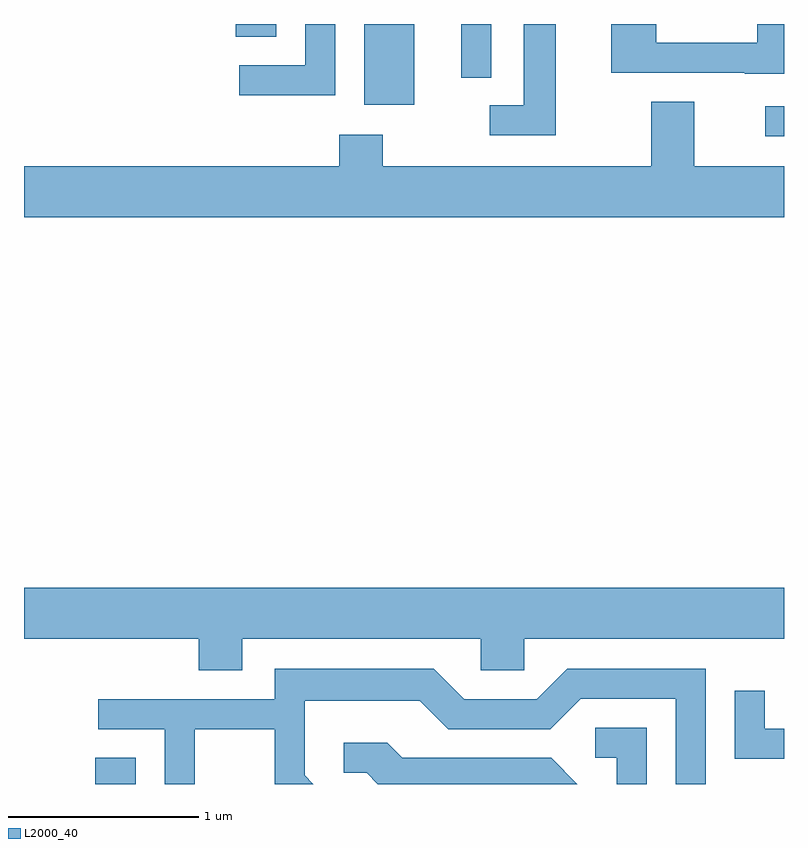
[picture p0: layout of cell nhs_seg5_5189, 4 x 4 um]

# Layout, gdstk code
import gdstk
lib = gdstk.Library(unit=1e-6, precision=1e-09)
def R(c, l, rs):  # rectangles x0, y0, x1, y1
    for r in rs: c.add(gdstk.rectangle(r[:2], r[2:], *l))
def P(c, l, *ps):  # polygons
    for p in ps: c.add(gdstk.Polygon(p, *l))
L2000_40 = (2000, 40)

nhs_seg5_5189 = lib.new_cell('nhs_seg5_5189')
R(nhs_seg5_5189, L2000_40, [(339.986,1416.072,340.199,1416.209), (343.513,1419.481,343.611,1419.639), (341.401,1419.646,341.664,1420.072), (341.911,1419.788,342.069,1420.072), (340.726,1420.006,340.939,1420.072)])
P(nhs_seg5_5189, L2000_40, [(341.249,1420.072),(341.091,1420.072),(341.091,1419.854),(340.743,1419.854),(340.743,1419.696),(341.249,1419.696)],
  [(342.409,1420.072),(342.241,1420.072),(342.241,1419.644),(342.063,1419.644),(342.063,1419.486),(342.409,1419.486)],
  [(343.611,1420.072),(343.471,1420.072),(343.471,1419.974),(342.939,1419.974),(342.939,1420.072),(342.701,1420.072),(342.701,1419.816),(343.405,1419.816),(343.405,1419.811),(343.611,1419.811)],
  [(343.611,1419.324),(343.139,1419.324),(343.139,1419.664),(342.911,1419.664),(342.911,1419.324),(341.499,1419.324),(341.499,1419.489),(341.271,1419.489),(341.271,1419.324),(339.611,1419.324),(339.611,1419.056),(343.611,1419.056)],
  [(340.759,1416.836),(342.016,1416.836),(342.016,1416.671),(342.244,1416.671),(342.244,1416.836),(343.611,1416.836),(343.611,1417.104),(339.611,1417.104),(339.611,1416.836),(340.531,1416.836),(340.531,1416.671),(340.759,1416.671)],
  [(340.509,1416.361),(340.931,1416.361),(340.931,1416.072),(341.134,1416.072),(341.089,1416.117),(341.089,1416.511),(341.694,1416.511),(341.844,1416.361),(342.382,1416.361),(342.542,1416.521),(343.041,1416.521),(343.041,1416.072),(343.199,1416.072),(343.199,1416.679),(342.469,1416.679),(342.309,1416.519),(341.927,1416.519),(341.767,1416.679),(340.931,1416.679),(340.931,1416.519),(340.003,1416.519),(340.003,1416.361),(340.351,1416.361),(340.351,1416.072),(340.509,1416.072)],
  [(343.611,1416.364),(343.509,1416.364),(343.509,1416.563),(343.351,1416.563),(343.351,1416.206),(343.611,1416.206)],
  [(342.889,1416.369),(342.618,1416.369),(342.618,1416.211),(342.731,1416.211),(342.731,1416.072),(342.889,1416.072)],
  [(342.387,1416.209),(341.602,1416.209),(341.522,1416.289),(341.293,1416.289),(341.293,1416.131),(341.414,1416.131),(341.473,1416.072),(342.524,1416.072)])

lib.write_gds('nhs_seg5_5189.gds')
